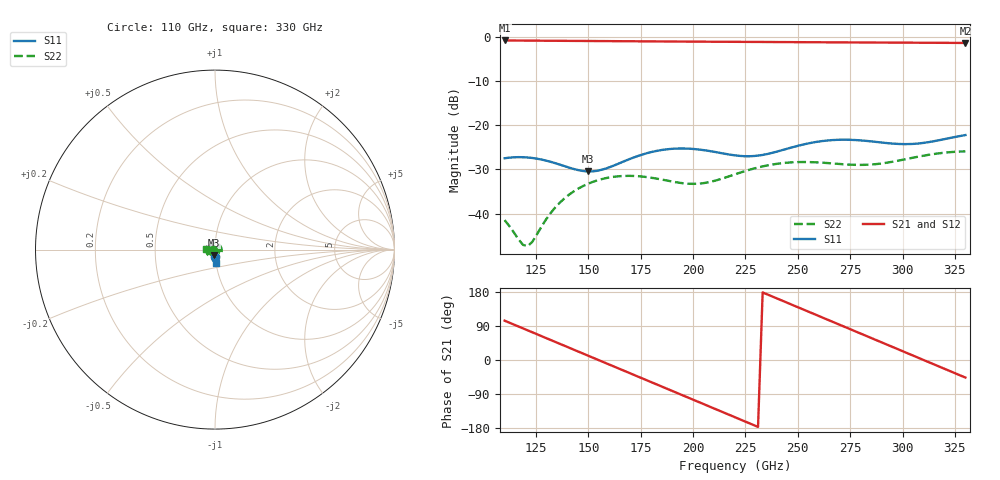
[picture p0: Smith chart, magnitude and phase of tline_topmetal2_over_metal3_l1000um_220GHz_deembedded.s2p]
! Created with skrf 2.0.1 (http://scikit-rf.org).
# GHz S DB R 50.0
!freq dBS11 angS11 dBS21 angS21 dBS12 angS12 dBS22 angS22
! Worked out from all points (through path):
!   101 points, 110 GHz to 330 GHz, reference 50 ohm
!   highest |S21| = -0.82 dB at 110 GHz (marker M1); lowest = -1.4 dB at 330 GHz (marker M2)
!   group delay of S21, straight-line fit = 6.44 ps
!   lowest |S11| = -30.4 dB at 149.6 GHz (marker M3), VSWR 1.06, Z = 49.5 - j2.95 ohm
!   |S11| at or under -10 dB: start of sweep to end of sweep
!   |S22| runs from -47.3 to -25.9 dB; largest |S21 - S12| = 1e-13
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110  -27.46 -87.5  -0.82 103.8  -0.82 103.8  -41.45 -177.9
121  -27.29 -99.7  -0.86 78.3  -0.86 78.3  -47.35 84.8
134.2  -28.58 -108.2  -0.90 47.7  -0.90 47.7  -38.58 -17.2
147.4  -30.34 -100.9  -0.94 17.1  -0.94 17.1  -33.76 -68.0
149.6  -30.44 -97.9  -0.94 12.0  -0.94 12.0  -33.27 -75.8
165  -28.56 -81.5  -0.99 -23.7  -0.99 -23.7  -31.52 -131.1
176  -26.59 -82.8  -1.02 -49.1  -1.02 -49.1  -31.62 -173.7
184.8  -25.61 -88.1  -1.05 -69.5  -1.05 -69.5  -32.26 148.2
193.6  -25.25 -94.3  -1.07 -89.9  -1.07 -89.9  -33.02 104.6
202.4  -25.47 -99.4  -1.09 -110.3  -1.09 -110.3  -33.22 55.8
220  -26.81 -98.7  -1.13 -151.1  -1.13 -151.1  -31.10 -38.1
228.8  -26.97 -91.8  -1.15 -171.5  -1.15 -171.5  -29.82 -78.4
237.6  -26.26 -85.2  -1.18 168.1  -1.18 168.1  -28.90 -116.0
246.4  -25.11 -82.8  -1.20 147.7  -1.20 147.7  -28.41 -152.7
257.4  -23.89 -85.4  -1.23 122.2  -1.23 122.2  -28.36 160.5
266.2  -23.37 -89.5  -1.25 101.8  -1.25 101.8  -28.62 120.9
275  -23.29 -93.6  -1.27 81.3  -1.27 81.3  -28.91 78.5
283.8  -23.59 -96.1  -1.29 60.9  -1.29 60.9  -28.92 33.7
294.8  -24.13 -94.9  -1.31 35.4  -1.31 35.4  -28.28 -22.3
303.6  -24.25 -90.6  -1.33 15.0  -1.33 15.0  -27.47 -64.8
312.4  -23.82 -86.1  -1.34 -5.5  -1.34 -5.5  -26.69 -104.7
330  -22.22 -84.6  -1.39 -46.4  -1.39 -46.4  -25.91 179.3
